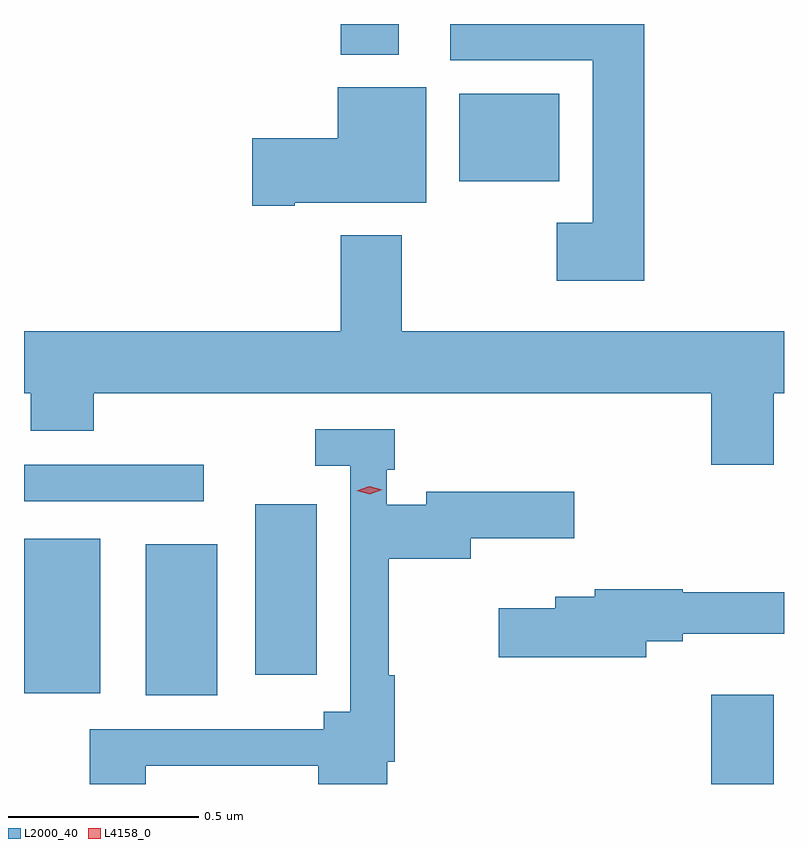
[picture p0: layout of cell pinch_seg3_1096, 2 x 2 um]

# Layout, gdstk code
import gdstk
lib = gdstk.Library(unit=1e-6, precision=1e-09)
def R(c, l, rs):  # rectangles x0, y0, x1, y1
    for r in rs: c.add(gdstk.rectangle(r[:2], r[2:], *l))
def P(c, l, *ps):  # polygons
    for p in ps: c.add(gdstk.Polygon(p, *l))
L2000_40 = (2000, 40)
L4158_0 = (4158, 0)

pinch_seg3_1096 = lib.new_cell('pinch_seg3_1096')
R(pinch_seg3_1096, L2000_40, [(356.816,674.58,356.98,674.815), (355.328,674.813,355.516,675.211), (355.007,674.819,355.207,675.226), (355.616,674.868,355.777,675.316), (355.007,675.324,355.48,675.42), (356.153,676.166,356.416,676.396), (355.841,676.499,355.993,676.58)])
P(pinch_seg3_1096, L2000_40, [(356.639,676.58),(356.129,676.58),(356.129,676.484),(356.504,676.484),(356.504,676.057),(356.409,676.057),(356.409,675.905),(356.639,675.905)],
  [(355.72,676.109),(356.065,676.109),(356.065,676.414),(355.832,676.414),(355.832,676.28),(355.608,676.28),(355.608,676.102),(355.72,676.102)],
  [(356.98,675.608),(357.007,675.608),(357.007,675.772),(356.001,675.772),(356.001,676.024),(355.841,676.024),(355.841,675.772),(355.007,675.772),(355.007,675.608),(355.025,675.608),(355.025,675.509),(355.19,675.509),(355.19,675.608),(356.816,675.608),(356.816,675.42),(356.98,675.42)],
  [(355.327,674.628),(355.781,674.628),(355.781,674.58),(355.963,674.58),(355.963,674.638),(355.982,674.638),(355.982,674.866),(355.967,674.866),(355.967,675.173),(356.182,675.173),(356.182,675.227),(356.455,675.227),(356.455,675.349),(356.066,675.349),(356.066,675.315),(355.962,675.315),(355.962,675.407),(355.982,675.407),(355.982,675.513),(355.773,675.513),(355.773,675.417),(355.866,675.417),(355.866,674.77),(355.796,674.77),(355.796,674.724),(355.18,674.724),(355.18,674.58),(355.327,674.58)],
  [(356.644,674.956),(356.74,674.956),(356.74,674.975),(357.007,674.975),(357.007,675.085),(356.74,675.085),(356.74,675.092),(356.509,675.092),(356.509,675.073),(356.405,675.073),(356.405,675.043),(356.256,675.043),(356.256,674.914),(356.644,674.914)])
P(pinch_seg3_1096, L4158_0, [(355.917,675.343),(355.882,675.352),(355.882,675.352),(355.882,675.352),(355.916,675.363),(355.95,675.355),(355.95,675.355),(355.95,675.354)])

lib.write_gds('pinch_seg3_1096.gds')
